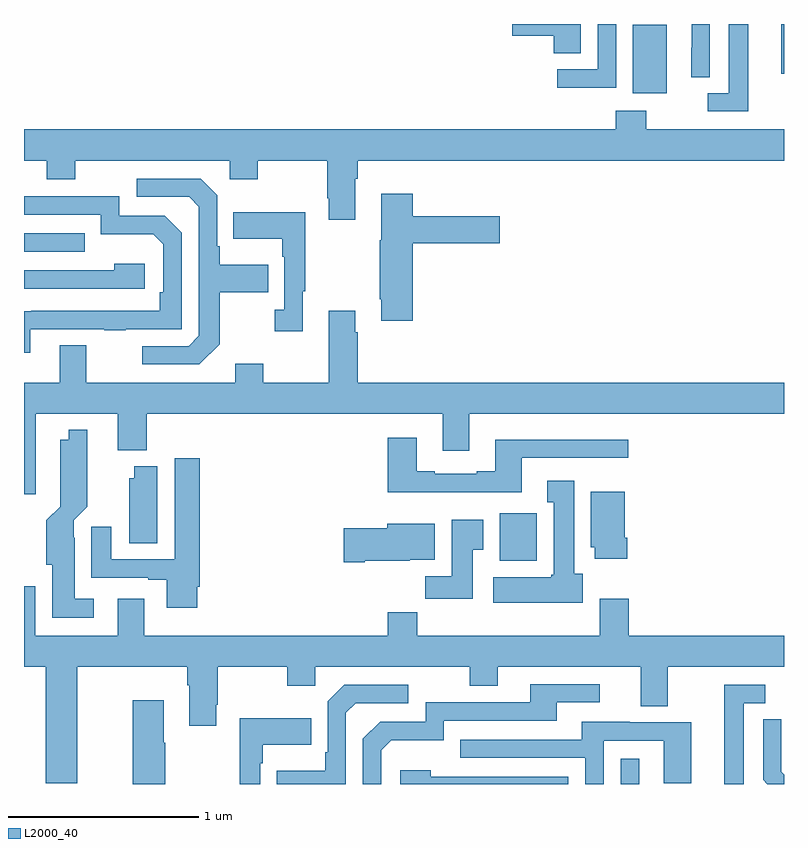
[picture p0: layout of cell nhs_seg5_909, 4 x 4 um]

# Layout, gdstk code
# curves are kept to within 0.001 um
import gdstk
lib = gdstk.Library(unit=1e-6, precision=1e-09)
def R(c, l, rs):  # rectangles x0, y0, x1, y1
    for r in rs: c.add(gdstk.rectangle(r[:2], r[2:], *l))
def P(c, l, *ps):  # polygons
    for p in ps: c.add(gdstk.Polygon(p, *l))
L2000_40 = (2000, 40)

nhs_seg5_909 = lib.new_cell('nhs_seg5_909')
R(nhs_seg5_909, L2000_40, [(172.14,866.799,172.237,866.932), (171.503,867.974,171.699,868.225), (169,869.601,169.319,869.697), (172.205,870.434,172.384,870.795), (172.985,870.537,173,870.799)])
P(nhs_seg5_909, L2000_40, [(171.931,870.799),(171.57,870.799),(171.57,870.737),(171.788,870.737),(171.788,870.646),(171.931,870.646)],
  [(172.813,870.799),(172.709,870.799),(172.709,870.435),(172.599,870.435),(172.599,870.339),(172.813,870.339)],
  [(172.608,870.799),(172.512,870.799),(172.514,870.797),(172.514,870.674),(172.512,870.674),(172.512,870.52),(172.608,870.52)],
  [(172.116,870.799),(172.02,870.799),(172.02,870.561),(171.807,870.561),(171.807,870.463),(172.116,870.463)],
  [(170.743,869.984),(170.756,869.984),(170.756,870.08),(173,870.08),(173,870.244),(172.275,870.244),(172.275,870.343),(172.115,870.343),(172.115,870.244),(169,870.244),(169,870.08),(169.121,870.08),(169.121,869.981),(169.269,869.981),(169.269,870.08),(170.082,870.08),(170.082,869.981),(170.229,869.981),(170.229,870.08),(170.596,870.08),(170.596,869.881),(170.603,869.881),(170.603,869.769),(170.743,869.769)],
  [(170.029,869.113),(170.029,869.386),(170.285,869.386),(170.285,869.533),(170.029,869.533),(170.029,869.629),(170.016,869.629),(170.016,869.898),(169.929,869.985),(169.593,869.985),(169.593,869.889),(169.869,869.889),(169.92,869.838),(169.92,869.157),(169.866,869.103),(169.623,869.103),(169.623,869.007),(169.923,869.007)],
  [(171.047,869.645),(171.505,869.645),(171.505,869.787),(171.047,869.787),(171.047,869.905),(170.879,869.905),(170.879,869.661),(170.872,869.661),(170.872,869.35),(170.879,869.35),(170.879,869.238),(171.047,869.238)],
  [(169.033,869.193),(169.423,869.193),(169.423,869.188),(169.535,869.188),(169.535,869.193),(169.83,869.193),(169.83,869.7),(169.74,869.79),(169.5,869.79),(169.5,869.892),(169,869.892),(169,869.796),(169.404,869.796),(169.404,869.693),(169.681,869.693),(169.734,869.64),(169.734,869.386),(169.714,869.386),(169.714,869.289),(169,869.288),(169,869.07),(169.033,869.07)],
  [(170.467,869.393),(170.479,869.393),(170.479,869.809),(170.101,869.809),(170.101,869.669),(170.358,869.669),(170.358,869.573),(170.37,869.573),(170.37,869.294),(170.319,869.294),(170.319,869.181),(170.467,869.181)],
  [(169.636,869.536),(169.475,869.536),(169.475,869.502),(169,869.502),(169,869.406),(169.636,869.406)],
  [(169.063,868.748),(169.493,868.748),(169.493,868.556),(169.646,868.556),(169.646,868.748),(171.203,868.748),(171.203,868.554),(171.343,868.554),(171.343,868.748),(173,868.748),(173,868.912),(170.756,868.912),(170.756,869.177),(170.743,869.177),(170.743,869.29),(170.603,869.29),(170.603,868.912),(170.259,868.912),(170.259,869.011),(170.111,869.011),(170.111,868.912),(169.327,868.912),(169.327,869.107),(169.187,869.107),(169.187,868.912),(169,868.912),(169,868.323),(169.063,868.323)],
  [(169.366,867.775),(169.267,867.775),(169.267,868.094),(169.263,868.094),(169.263,868.188),(169.333,868.258),(169.332,868.663),(169.235,868.663),(169.235,868.612),(169.19,868.612),(169.19,868.258),(169.118,868.186),(169.118,867.954),(169.148,867.954),(169.148,867.674),(169.366,867.674)],
  [(171.619,868.515),(172.18,868.515),(172.18,868.612),(171.479,868.612),(171.479,868.444),(171.383,868.444),(171.383,868.431),(171.163,868.431),(171.163,868.444),(171.067,868.444),(171.067,868.621),(170.915,868.621),(170.915,868.334),(171.619,868.334)],
  [(169.912,867.838),(169.925,867.838),(169.925,868.513),(169.793,868.513),(169.793,867.981),(169.459,867.981),(169.459,868.153),(169.355,868.153),(169.355,867.885),(169.655,867.885),(169.655,867.873),(169.751,867.873),(169.751,867.726),(169.912,867.726)],
  [(169.702,868.471),(169.58,868.471),(169.58,868.407),(169.553,868.407),(169.553,868.066),(169.702,868.066)],
  [(171.94,867.906),(171.895,867.906),(171.895,868.396),(171.755,868.396),(171.755,868.283),(171.788,868.283),(171.788,867.9),(171.775,867.9),(171.775,867.886),(171.471,867.886),(171.471,867.752),(171.94,867.752)],
  [(172.175,868.096),(172.162,868.096),(172.162,868.336),(171.983,868.336),(171.983,868.044),(172.004,868.044),(172.004,867.984),(172.175,867.984)],
  [(171.361,868.033),(171.418,868.033),(171.418,868.189),(171.251,868.189),(171.251,867.892),(171.112,867.892),(171.112,867.774),(171.361,867.774)],
  [(170.794,867.974),(171.03,867.974),(171.03,867.98),(171.163,867.98),(171.163,868.168),(170.912,868.168),(170.912,868.145),(170.682,868.145),(170.682,867.967),(170.794,867.967)],
  [(169.279,867.416),(169.859,867.416),(169.859,867.32),(169.871,867.32),(169.871,867.105),(170.011,867.105),(170.011,867.217),(170.019,867.217),(170.019,867.416),(170.386,867.416),(170.386,867.317),(170.532,867.317),(170.532,867.416),(171.346,867.416),(171.346,867.317),(171.493,867.317),(171.493,867.416),(172.247,867.416),(172.247,867.208),(172.387,867.208),(172.387,867.416),(173,867.416),(173,867.58),(172.184,867.58),(172.184,867.775),(172.031,867.775),(172.031,867.58),(171.071,867.58),(171.071,867.704),(170.915,867.704),(170.915,867.58),(169.633,867.58),(169.633,867.775),(169.493,867.775),(169.493,867.58),(169.059,867.58),(169.059,867.841),(169,867.841),(169,867.416),(169.115,867.416),(169.115,866.802),(169.279,866.802)],
  [(170.88,866.976),(170.933,867.029),(171.21,867.029),(171.21,867.132),(171.805,867.132),(171.805,867.228),(172.03,867.228),(172.03,867.324),(171.665,867.324),(171.665,867.228),(171.114,867.228),(171.114,867.126),(170.874,867.126),(170.784,867.036),(170.784,866.799),(170.88,866.799)],
  [(170.694,867.174),(170.745,867.225),(171.022,867.225),(171.022,867.321),(170.685,867.321),(170.598,867.234),(170.598,866.965),(170.586,866.965),(170.586,866.869),(170.329,866.869),(170.329,866.799),(170.694,866.799)],
  [(172.789,867.225),(172.9,867.225),(172.9,867.321),(172.685,867.321),(172.685,866.799),(172.789,866.799)],
  [(169.743,867.017),(169.735,867.017),(169.735,867.241),(169.573,867.241),(169.573,866.799),(169.743,866.799)],
  [(170.244,866.909),(170.257,866.909),(170.257,867.005),(170.513,867.005),(170.513,867.145),(170.136,867.145),(170.136,866.799),(170.244,866.799)],
  [(173,866.849),(172.985,866.864),(172.985,866.986),(172.986,866.986),(172.986,867.14),(172.89,867.14),(172.89,866.822),(172.913,866.799),(173,866.799)],
  [(172.05,867.027),(172.368,867.027),(172.368,866.803),(172.513,866.803),(172.513,867.123),(172.189,867.123),(172.189,867.127),(171.935,867.127),(171.935,867.033),(171.295,867.033),(171.295,866.937),(171.954,866.937),(171.954,866.799),(172.05,866.799)],
  [(171.864,866.838),(171.14,866.838),(171.14,866.872),(170.979,866.872),(170.979,866.799),(171.864,866.799)])

lib.write_gds('nhs_seg5_909.gds')
